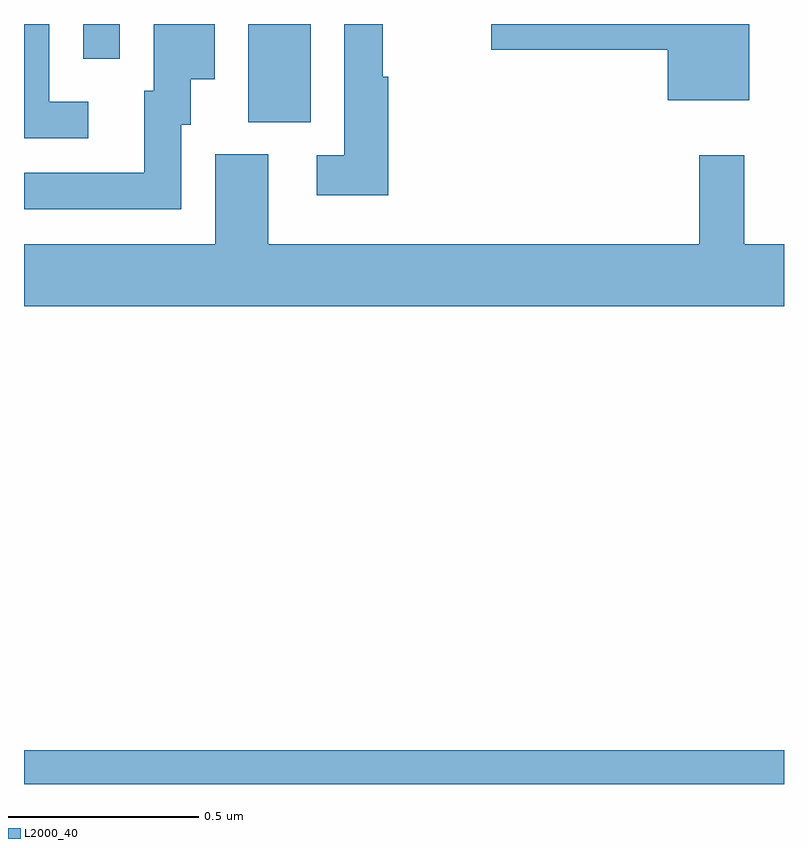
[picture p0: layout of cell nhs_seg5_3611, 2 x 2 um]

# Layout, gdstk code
import gdstk
lib = gdstk.Library(unit=1e-6, precision=1e-09)
def R(c, l, rs):  # rectangles x0, y0, x1, y1
    for r in rs: c.add(gdstk.rectangle(r[:2], r[2:], *l))
def P(c, l, *ps):  # polygons
    for p in ps: c.add(gdstk.Polygon(p, *l))
L2000_40 = (2000, 40)

nhs_seg5_3611 = lib.new_cell('nhs_seg5_3611')
R(nhs_seg5_3611, L2000_40, [(159,892.799,161,892.888), (159.59,894.541,159.754,894.799), (159.156,894.708,159.252,894.799)])
P(nhs_seg5_3611, L2000_40, [(160.909,894.799),(160.23,894.799),(160.23,894.731),(160.694,894.731),(160.694,894.599),(160.909,894.599)],
  [(159.169,894.594),(159.066,894.594),(159.066,894.799),(159,894.799),(159,894.498),(159.169,894.498)],
  [(159.959,894.66),(159.944,894.66),(159.944,894.799),(159.843,894.799),(159.843,894.453),(159.771,894.453),(159.771,894.348),(159.959,894.348)],
  [(159.414,894.534),(159.439,894.534),(159.439,894.653),(159.502,894.653),(159.502,894.799),(159.341,894.799),(159.341,894.624),(159.317,894.624),(159.317,894.408),(159,894.408),(159,894.312),(159.414,894.312)],
  [(161,894.22),(160.895,894.22),(160.895,894.454),(160.777,894.454),(160.777,894.22),(159.643,894.22),(159.643,894.456),(159.503,894.456),(159.503,894.22),(159,894.22),(159,894.056),(161,894.056)])

lib.write_gds('nhs_seg5_3611.gds')
